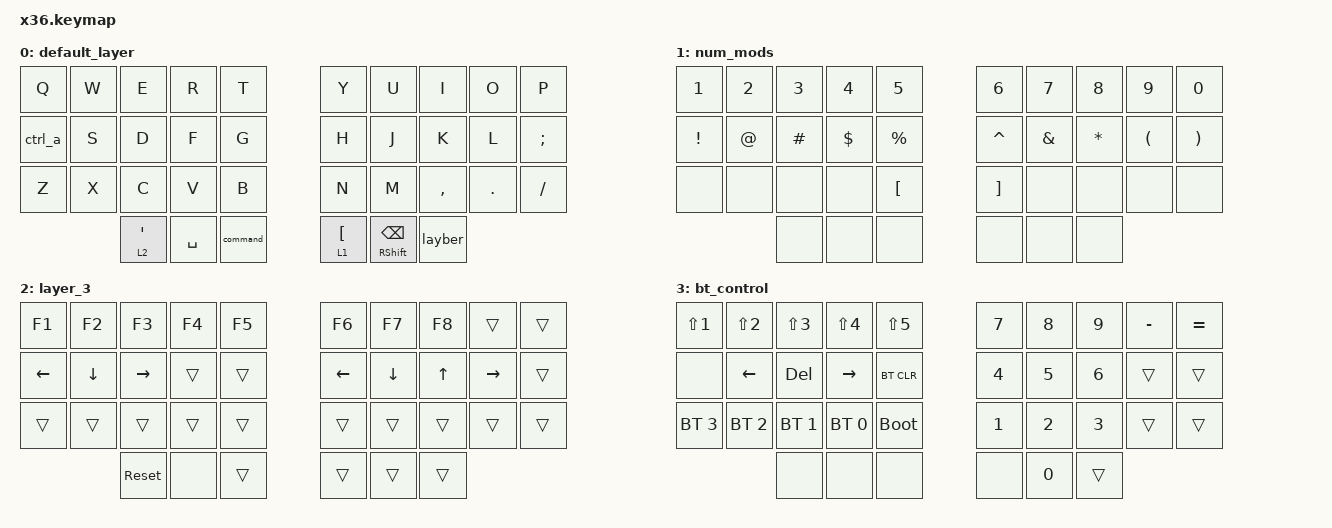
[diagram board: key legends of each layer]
/*
 * Copyright (c) 2021 The ZMK Contributors
 *
 * SPDX-License-Identifier: MIT
 */

#include <behaviors.dtsi>
#include <dt-bindings/zmk/bt.h>
#include <dt-bindings/zmk/keys.h>

#define DEFAULT  0
#define NUM_MODS 1
#define BT_CTRL  2

/ {
    combos {
        compatible = "zmk,combos";

        a {
            bindings = <&kp ESCAPE>;
            key-positions = <1 0>;
        };

        b {
            bindings = <&kp CAPS>;
            key-positions = <11 10>;
        };

        c {
            bindings = <&kp TAB>;
            key-positions = <12 11 10>;
        };

        d {
            bindings = <&kp BACKSPACE>;
            key-positions = <9 8>;
        };

        e {
            bindings = <&kp ENTER>;
            key-positions = <19 18>;
        };

        f {
            bindings = <&kp MINUS>;
            key-positions = <16 17>;
        };

        g {
            bindings = <&kp EQUAL>;
            key-positions = <17 18>;
        };

        h {
            bindings = <&bootloader>;
            key-positions = <24 18>;
        };

        j {
            bindings = <&kp CAPS>;
            key-positions = <10 11>;
        };

        i {
            bindings = <&kp LSHIFT>;
            key-positions = <29 28>;
        };

        WAVE {
            bindings = <&kp GRAVE>;
            key-positions = <0 1 2>;
        };
    };

    behaviors {
        command: command {
            compatible = "zmk,behavior-tap-dance";
            label = "COMMAND";
            #binding-cells = <0>;
            bindings = <&kp ENTER>, <&kp LEFT_COMMAND>;
        };

        layber: layber {
            compatible = "zmk,behavior-tap-dance";
            label = "LAYBER";
            #binding-cells = <0>;
            bindings = <&lt 1 DELETE>, <&lt 2 DELETE>, <&lt 3 DELETE>;
        };

        ctrl_a: ctrl_a {
            compatible = "zmk,behavior-tap-dance";
            label = "CTRL_A";
            #binding-cells = <0>;
            bindings = <&kp A>, <&kp LCTRL>, <&kp LC(A)>;
        };
    };

    macros {
        ctrlA: ctrlA {
            compatible = "zmk,behavior-macro";
            #binding-cells = <0>;
            bindings = <&kp A>;
            label = "CTRLA";
        };
    };

    keymap {
        compatible = "zmk,keymap";

        default_layer {
            bindings = <
  &kp Q    &kp W      &kp E      &kp R     &kp T               &kp Y                      &kp U    &kp I      &kp O    &kp P
  &ctrl_a  &kp S      &kp D      &kp F     &kp G               &kp H                      &kp J    &kp K      &kp L    &kp SEMI
  &kp Z    &kp X      &kp C      &kp V     &kp B               &kp N                      &kp M    &kp COMMA  &kp DOT  &kp FSLH
           &lt 2 SQT  &kp SPACE  &command  &lt 1 LEFT_BRACKET  &mt RIGHT_SHIFT BACKSPACE  &layber
            >;
        };

        num_mods {
            bindings = <
  &kp N1           &kp N2       &kp N3    &kp N4      &kp N5            &kp N6             &kp N7         &kp N8        &kp N9                &kp N0
  &kp EXCLAMATION  &kp AT_SIGN  &kp HASH  &kp DOLLAR  &kp PERCENT       &kp CARET          &kp AMPERSAND  &kp ASTERISK  &kp LEFT_PARENTHESIS  &kp RIGHT_PARENTHESIS
  &none            &none        &none     &none       &kp LEFT_BRACKET  &kp RIGHT_BRACKET  &none          &none         &none                 &none
                   &none        &none     &none       &none             &none              &none
            >;
        };

        layer_3 {
            bindings = <
  &kp F1    &kp F2      &kp F3     &kp F4  &kp F5  &kp F6    &kp F7    &kp F8  &trans     &trans
  &kp LEFT  &kp DOWN    &kp RIGHT  &trans  &trans  &kp LEFT  &kp DOWN  &kp UP  &kp RIGHT  &trans
  &trans    &trans      &trans     &trans  &trans  &trans    &trans    &trans  &trans     &trans
            &sys_reset  &none      &trans  &trans  &trans    &trans
            >;
        };

        bt_control {
            bindings = <
  &kp LS(NUMBER_1)  &kp LS(NUMBER_2)  &kp LS(NUMBER_3)  &kp LS(NUMBER_4)  &kp LS(N5)   &kp N7        &kp N8        &kp N9        &kp MINUS  &kp EQUAL
  &none             &kp LEFT_ARROW    &kp DEL           &kp RIGHT         &bt BT_CLR   &kp NUMBER_4  &kp N5        &kp NUMBER_6  &trans     &trans
  &bt BT_SEL 3      &bt BT_SEL 2      &bt BT_SEL 1      &bt BT_SEL 0      &bootloader  &kp NUMBER_1  &kp NUMBER_2  &kp NUMBER_3  &trans     &trans
                    &none             &none             &none             &none        &kp N0        &trans
            >;
        };
    };
};
